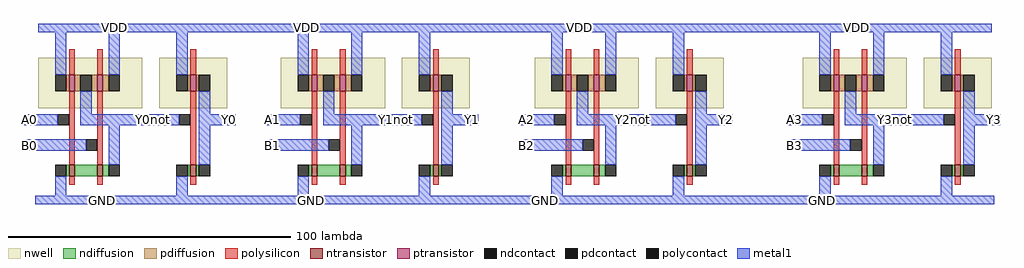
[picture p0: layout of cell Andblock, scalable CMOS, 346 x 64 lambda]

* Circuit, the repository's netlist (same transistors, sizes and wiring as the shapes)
* SPICE3 file created from Andblock.ext - technology: scmos
.include TSMC_180nm.txt
.param SUPPLY = 1.8V
.option scale=0.09u
Vds VDD GND 'SUPPLY'


V_in_a3 A3 GND PULSE(0 1.8 0ns 100ps 100ps 20ns 40ns)
V_in_a2 A2 GND PULSE(0 1.8 0ns 100ps 100ps 30ns 50ns)
V_in_a1 A1 GND PULSE(0 1.8 0ns 100ps 100ps 40ns 60ns)
V_in_a0 A0 GND PULSE(0 1.8 0ns 100ps 100ps 50ns 80ns)

 V_in_b3 B3 GND PULSE(0 1.8 0ns 100ps 100ps 10ns 50ns)
 V_in_b2 B2 GND PULSE(0 1.8 0ns 100ps 100ps 20ns 60ns)
V_in_b1 B1 GND PULSE(0 1.8 0ns 100ps 100ps 30ns 70ns)
V_in_b0 B0 GND PULSE(0 1.8 0ns 100ps 100ps 40ns 80ns)


M1000 Y1 Y1not VDD VDD CMOSP w=6 l=2
+  ad=30 pd=22 as=384 ps=272
M1001 Y3not B3 a_290_124# GND CMOSN w=4 l=2
+  ad=24 pd=20 as=32 ps=24
M1002 Y2 Y2not VDD VDD CMOSP w=6 l=2
+  ad=30 pd=22 as=0 ps=0
M1003 Y3not A3 VDD w_277_148# CMOSP w=6 l=2
+  ad=48 pd=28 as=0 ps=0
M1004 Y3 Y3not VDD VDD CMOSP w=6 l=2
+  ad=30 pd=22 as=0 ps=0
M1005 Y0 Y0not GND GND CMOSN w=4 l=2
+  ad=20 pd=18 as=160 ps=144
M1006 a_105_124# A1 GND GND CMOSN w=4 l=2
+  ad=32 pd=24 as=0 ps=0
M1007 VDD B0 Y0not w_6_148# CMOSP w=6 l=2
+  ad=0 pd=0 as=48 ps=28
M1008 Y1 Y1not GND GND CMOSN w=4 l=2
+  ad=20 pd=18 as=0 ps=0
M1009 Y2not A2 VDD w_182_148# CMOSP w=6 l=2
+  ad=48 pd=28 as=0 ps=0
M1010 a_290_124# A3 GND GND CMOSN w=4 l=2
+  ad=0 pd=0 as=0 ps=0
M1011 Y2 Y2not GND GND CMOSN w=4 l=2
+  ad=20 pd=18 as=0 ps=0
M1012 Y3 Y3not GND GND CMOSN w=4 l=2
+  ad=20 pd=18 as=0 ps=0
M1013 Y0not B0 a_19_124# GND CMOSN w=4 l=2
+  ad=24 pd=20 as=32 ps=24
M1014 a_195_124# A2 GND GND CMOSN w=4 l=2
+  ad=32 pd=24 as=0 ps=0
M1015 Y0not A0 VDD w_6_148# CMOSP w=6 l=2
+  ad=0 pd=0 as=0 ps=0
M1016 VDD B1 Y1not w_92_148# CMOSP w=6 l=2
+  ad=0 pd=0 as=48 ps=28
M1017 VDD B2 Y2not w_182_148# CMOSP w=6 l=2
+  ad=0 pd=0 as=0 ps=0
M1018 VDD B3 Y3not w_277_148# CMOSP w=6 l=2
+  ad=0 pd=0 as=0 ps=0
M1019 a_19_124# A0 GND GND CMOSN w=4 l=2
+  ad=0 pd=0 as=0 ps=0
M1020 Y0 Y0not VDD VDD CMOSP w=6 l=2
+  ad=30 pd=22 as=0 ps=0
M1021 Y1not B1 a_105_124# GND CMOSN w=4 l=2
+  ad=24 pd=20 as=0 ps=0
M1022 Y1not A1 VDD w_92_148# CMOSP w=6 l=2
+  ad=0 pd=0 as=0 ps=0
M1023 Y2not B2 a_195_124# GND CMOSN w=4 l=2
+  ad=24 pd=20 as=0 ps=0

.tran 0.01n 200n

.control
run
set color0 = rgb:f/f/e
set color1 = black
plot v(A0) v(A1)+3 v(A2)+6 v(A3)+9  v(B0)+12 v(B1)+15 v(B2)+18 v(B3)+21 v(Y0)+24 v(Y1)+27 v(Y2)+30 v(Y3)+33

.endc
.end

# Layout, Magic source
magic
tech scmos
<< nwell >>
rect 6 148 43 166
rect 49 148 73 166
rect 92 148 129 166
rect 135 148 159 166
rect 182 148 219 166
rect 225 148 249 166
rect 277 148 314 166
rect 320 148 344 166
<< ntransistor >>
rect 17 124 19 128
rect 27 124 29 128
rect 60 124 62 128
rect 103 124 105 128
rect 113 124 115 128
rect 146 124 148 128
rect 193 124 195 128
rect 203 124 205 128
rect 236 124 238 128
rect 288 124 290 128
rect 298 124 300 128
rect 331 124 333 128
<< ptransistor >>
rect 17 154 19 160
rect 27 154 29 160
rect 60 154 62 160
rect 103 154 105 160
rect 113 154 115 160
rect 146 154 148 160
rect 193 154 195 160
rect 203 154 205 160
rect 236 154 238 160
rect 288 154 290 160
rect 298 154 300 160
rect 331 154 333 160
<< ndiffusion >>
rect 16 124 17 128
rect 19 124 27 128
rect 29 124 31 128
rect 59 124 60 128
rect 62 124 63 128
rect 102 124 103 128
rect 105 124 113 128
rect 115 124 117 128
rect 145 124 146 128
rect 148 124 149 128
rect 192 124 193 128
rect 195 124 203 128
rect 205 124 207 128
rect 235 124 236 128
rect 238 124 239 128
rect 287 124 288 128
rect 290 124 298 128
rect 300 124 302 128
rect 330 124 331 128
rect 333 124 334 128
<< pdiffusion >>
rect 16 154 17 160
rect 19 154 21 160
rect 25 154 27 160
rect 29 154 31 160
rect 59 154 60 160
rect 62 154 63 160
rect 102 154 103 160
rect 105 154 107 160
rect 111 154 113 160
rect 115 154 117 160
rect 145 154 146 160
rect 148 154 149 160
rect 192 154 193 160
rect 195 154 197 160
rect 201 154 203 160
rect 205 154 207 160
rect 235 154 236 160
rect 238 154 239 160
rect 287 154 288 160
rect 290 154 292 160
rect 296 154 298 160
rect 300 154 302 160
rect 330 154 331 160
rect 333 154 334 160
<< ndcontact >>
rect 12 124 16 128
rect 31 124 35 128
rect 55 124 59 128
rect 63 124 67 128
rect 98 124 102 128
rect 117 124 121 128
rect 141 124 145 128
rect 149 124 153 128
rect 188 124 192 128
rect 207 124 211 128
rect 231 124 235 128
rect 239 124 243 128
rect 283 124 287 128
rect 302 124 306 128
rect 326 124 330 128
rect 334 124 338 128
<< pdcontact >>
rect 12 154 16 160
rect 21 154 25 160
rect 31 154 35 160
rect 55 154 59 160
rect 63 154 67 160
rect 98 154 102 160
rect 107 154 111 160
rect 117 154 121 160
rect 141 154 145 160
rect 149 154 153 160
rect 188 154 192 160
rect 197 154 201 160
rect 207 154 211 160
rect 231 154 235 160
rect 239 154 243 160
rect 283 154 287 160
rect 292 154 296 160
rect 302 154 306 160
rect 326 154 330 160
rect 334 154 338 160
<< polysilicon >>
rect 17 160 19 169
rect 27 160 29 169
rect 60 160 62 169
rect 103 160 105 169
rect 113 160 115 169
rect 146 160 148 169
rect 193 160 195 169
rect 203 160 205 169
rect 236 160 238 169
rect 288 160 290 169
rect 298 160 300 169
rect 331 160 333 169
rect 17 128 19 154
rect 27 128 29 154
rect 60 128 62 154
rect 103 128 105 154
rect 113 128 115 154
rect 146 128 148 154
rect 193 128 195 154
rect 203 128 205 154
rect 236 128 238 154
rect 288 128 290 154
rect 298 128 300 154
rect 331 128 333 154
rect 17 121 19 124
rect 27 121 29 124
rect 60 121 62 124
rect 103 121 105 124
rect 113 121 115 124
rect 146 121 148 124
rect 193 121 195 124
rect 203 121 205 124
rect 236 121 238 124
rect 288 121 290 124
rect 298 121 300 124
rect 331 121 333 124
<< polycontact >>
rect 13 142 17 146
rect 23 133 27 137
rect 56 142 60 146
rect 99 142 103 146
rect 109 133 113 137
rect 142 142 146 146
rect 189 142 193 146
rect 199 133 203 137
rect 232 142 236 146
rect 284 142 288 146
rect 294 133 298 137
rect 327 142 331 146
<< metal1 >>
rect 6 175 344 178
rect 12 160 16 175
rect 31 160 35 175
rect 55 160 59 175
rect 98 160 102 175
rect 117 160 121 175
rect 141 160 145 175
rect 188 160 192 175
rect 207 160 211 175
rect 231 160 235 175
rect 283 160 287 175
rect 302 160 306 175
rect 326 160 330 175
rect 21 146 25 154
rect 63 146 67 154
rect 107 146 111 154
rect 149 146 153 154
rect 197 146 201 154
rect 239 146 243 154
rect 292 146 296 154
rect 334 146 338 154
rect 1 142 13 146
rect 21 142 56 146
rect 63 142 76 146
rect 87 142 99 146
rect 107 142 142 146
rect 149 142 162 146
rect 177 142 189 146
rect 197 142 232 146
rect 239 142 252 146
rect 272 142 284 146
rect 292 142 327 146
rect 334 142 347 146
rect 1 133 23 137
rect 31 128 35 142
rect 63 128 67 142
rect 87 133 109 137
rect 117 128 121 142
rect 149 128 153 142
rect 177 133 199 137
rect 207 128 211 142
rect 239 128 243 142
rect 272 133 294 137
rect 302 128 306 142
rect 334 128 338 142
rect 12 117 16 124
rect 55 117 59 124
rect 98 117 102 124
rect 141 117 145 124
rect 188 117 192 124
rect 231 117 235 124
rect 283 117 287 124
rect 326 117 330 124
rect 5 114 345 117
<< labels >>
rlabel metal1 1 142 5 146 3 A0
rlabel metal1 1 133 5 137 3 B0
rlabel metal1 72 142 76 146 1 Y0
rlabel metal1 87 142 91 146 1 A1
rlabel metal1 87 133 91 137 1 B1
rlabel metal1 158 142 162 146 1 Y1
rlabel metal1 177 142 181 146 1 A2
rlabel metal1 177 133 181 137 1 B2
rlabel metal1 248 142 252 146 1 Y2
rlabel metal1 272 142 276 146 1 A3
rlabel metal1 272 133 276 137 1 B3
rlabel metal1 343 142 347 146 7 Y3
rlabel metal1 308 142 312 146 1 Y3not
rlabel metal1 215 142 219 146 1 Y2not
rlabel metal1 131 142 135 146 1 Y1not
rlabel metal1 45 142 49 146 1 Y0not
rlabel metal1 24 114 34 117 1 GND
rlabel metal1 98 114 108 117 1 GND
rlabel metal1 181 114 191 117 1 GND
rlabel metal1 279 114 289 117 1 GND
rlabel metal1 28 175 38 178 5 VDD
rlabel metal1 96 175 106 178 5 VDD
rlabel metal1 193 175 203 178 5 VDD
rlabel metal1 291 175 301 178 5 VDD
<< end >>
